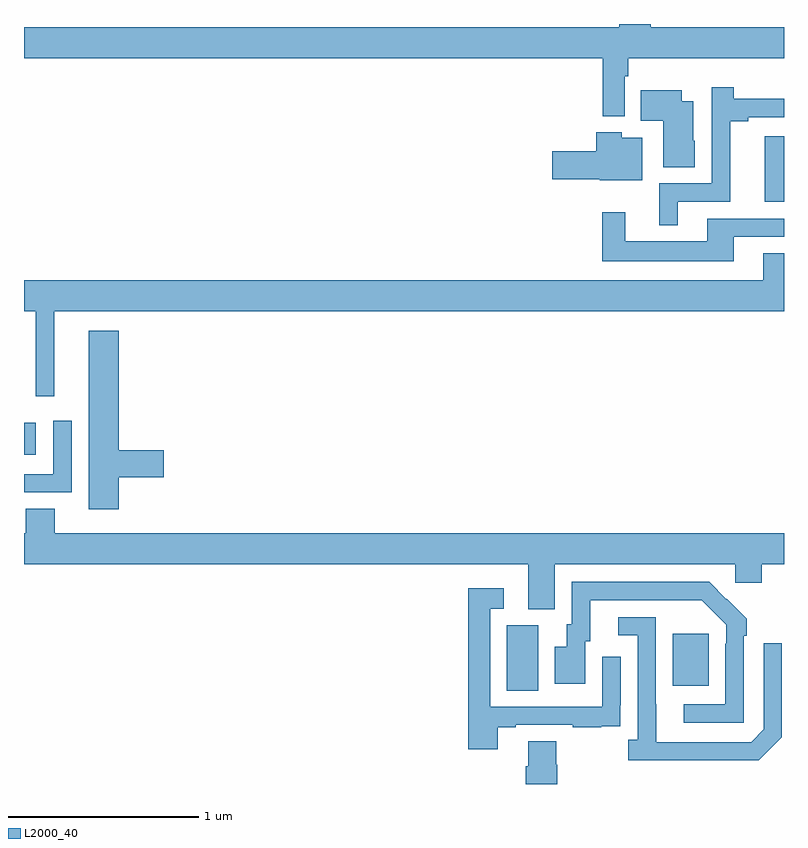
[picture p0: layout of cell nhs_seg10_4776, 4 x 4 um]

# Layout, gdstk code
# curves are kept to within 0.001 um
import gdstk
lib = gdstk.Library(unit=1e-6, precision=1e-09)
def R(c, l, rs):  # rectangles x0, y0, x1, y1
    for r in rs: c.add(gdstk.rectangle(r[:2], r[2:], *l))
def P(c, l, *ps):  # polygons
    for p in ps: c.add(gdstk.Polygon(p, *l))
L2000_40 = (2000, 40)

nhs_seg10_4776 = lib.new_cell('nhs_seg10_4776')
R(nhs_seg10_4776, L2000_40, [(387.542,1292.992,387.706,1293.336), (388.415,1293.017,388.603,1293.292), (385,1294.232,385.063,1294.402), (388.898,1295.564,389,1295.908)])
P(nhs_seg10_4776, L2000_40, [(388.161,1296.224),(388.181,1296.224),(388.181,1296.32),(389,1296.32),(389,1296.484),(388.298,1296.484),(388.298,1296.5),(388.133,1296.5),(388.133,1296.484),(385,1296.484),(385,1296.32),(388.045,1296.32),(388.045,1296.014),(388.161,1296.014)],
  [(388.441,1295.565),(388.718,1295.565),(388.718,1295.989),(388.813,1295.989),(388.813,1296.009),(389,1296.009),(389,1296.107),(388.736,1296.107),(388.736,1296.166),(388.62,1296.166),(388.62,1295.661),(388.343,1295.661),(388.343,1295.441),(388.441,1295.441)],
  [(388.531,1295.886),(388.522,1295.886),(388.522,1296.094),(388.462,1296.094),(388.462,1296.151),(388.246,1296.151),(388.246,1295.99),(388.364,1295.99),(388.364,1295.746),(388.531,1295.746)],
  [(388.255,1295.902),(388.146,1295.902),(388.146,1295.929),(388.013,1295.929),(388.013,1295.831),(387.78,1295.831),(387.78,1295.684),(388.029,1295.684),(388.029,1295.678),(388.255,1295.678)],
  [(388.735,1295.379),(389,1295.379),(389,1295.475),(388.595,1295.475),(388.595,1295.356),(388.165,1295.356),(388.165,1295.509),(388.044,1295.509),(388.044,1295.252),(388.735,1295.252)],
  [(385.16,1294.988),(389,1294.988),(389,1295.294),(388.892,1295.294),(388.892,1295.152),(385,1295.152),(385,1294.988),(385.061,1294.988),(385.061,1294.542),(385.16,1294.542)],
  [(385.499,1294.114),(385.735,1294.114),(385.735,1294.256),(385.499,1294.256),(385.499,1294.885),(385.34,1294.885),(385.34,1293.945),(385.499,1293.945)],
  [(385.251,1294.411),(385.155,1294.411),(385.155,1294.131),(385,1294.131),(385,1294.035),(385.251,1294.035)],
  [(387.793,1293.656),(388.743,1293.656),(388.743,1293.558),(388.882,1293.558),(388.882,1293.656),(389,1293.656),(389,1293.82),(385.162,1293.82),(385.162,1293.95),(385.01,1293.95),(385.01,1293.82),(385,1293.82),(385,1293.656),(387.653,1293.656),(387.653,1293.421),(387.793,1293.421)],
  [(388.788,1293.281),(388.803,1293.281),(388.803,1293.369),(388.606,1293.564),(387.882,1293.564),(387.882,1293.342),(387.857,1293.342),(387.857,1293.223),(387.794,1293.223),(387.794,1293.027),(387.955,1293.027),(387.955,1293.252),(387.979,1293.252),(387.979,1293.468),(388.567,1293.468),(388.695,1293.339),(388.695,1293.239),(388.692,1293.239),(388.692,1292.919),(388.473,1292.919),(388.473,1292.823),(388.788,1292.823)],
  [(387.493,1292.799),(387.589,1292.799),(387.589,1292.811),(387.889,1292.811),(387.889,1292.799),(388.037,1292.799),(388.037,1292.805),(388.139,1292.805),(388.139,1292.914),(388.14,1292.914),(388.14,1293.169),(388.044,1293.169),(388.044,1292.907),(387.453,1292.907),(387.453,1293.423),(387.526,1293.423),(387.526,1293.529),(387.337,1293.529),(387.337,1292.682),(387.493,1292.682)],
  [(388.989,1292.745),(388.989,1293.241),(388.893,1293.241),(388.893,1292.787),(388.827,1292.721),(388.327,1292.721),(388.326,1293.378),(388.128,1293.378),(388.128,1293.282),(388.23,1293.282),(388.23,1292.734),(388.179,1292.734),(388.179,1292.624),(388.868,1292.624)],
  [(387.806,1292.601),(387.801,1292.601),(387.801,1292.726),(387.653,1292.726),(387.653,1292.594),(387.641,1292.594),(387.641,1292.5),(387.806,1292.5)])

lib.write_gds('nhs_seg10_4776.gds')
